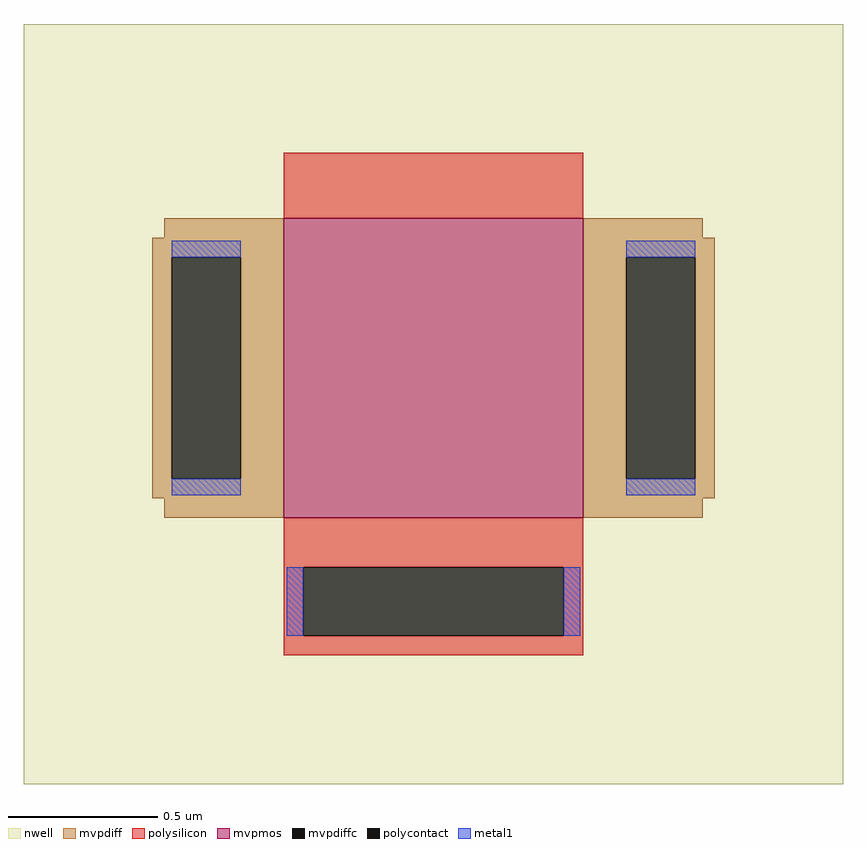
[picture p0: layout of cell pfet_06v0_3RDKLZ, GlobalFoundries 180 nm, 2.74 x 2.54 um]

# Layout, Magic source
magic
tech gf180mcuD
magscale 1 10
<< nwell >>
rect -274 -254 274 254
<< mvpmos >>
rect -100 -76 100 124
<< mvpdiff >>
rect -180 111 -100 124
rect -188 98 -100 111
rect -188 -50 -175 98
rect -129 -50 -100 98
rect -188 -63 -100 -50
rect -180 -76 -100 -63
rect 100 111 180 124
rect 100 98 188 111
rect 100 -50 129 98
rect 175 -50 188 98
rect 100 -63 188 -50
rect 100 -76 180 -63
<< mvpdiffc >>
rect -175 -50 -129 98
rect 129 -50 175 98
<< polysilicon >>
rect -100 124 100 168
rect -100 -109 100 -76
rect -100 -155 -87 -109
rect 87 -155 100 -109
rect -100 -168 100 -155
<< polycontact >>
rect -87 -155 87 -109
<< metal1 >>
rect -175 98 -129 109
rect -175 -61 -129 -50
rect 129 98 175 109
rect 129 -61 175 -50
rect -98 -155 -87 -109
rect 87 -155 98 -109
<< properties >>
string gencell pfet_05v0
string library gf180mcu
string parameters w 1.0 l 1.0 m 1 nf 1 diffcov 85 polycov 100 guard 0 glc 0 grc 0 gtc 0 gbc 0 tbcov 100 rlcov 100 topc 0 botc 1 poverlap 0 doverlap 0 lmin 0.55 wmin 0.3 class mosfet full_metal 0 compatible {pfet_03v3 pfet_05v0 pfet_06v0}
<< end >>
